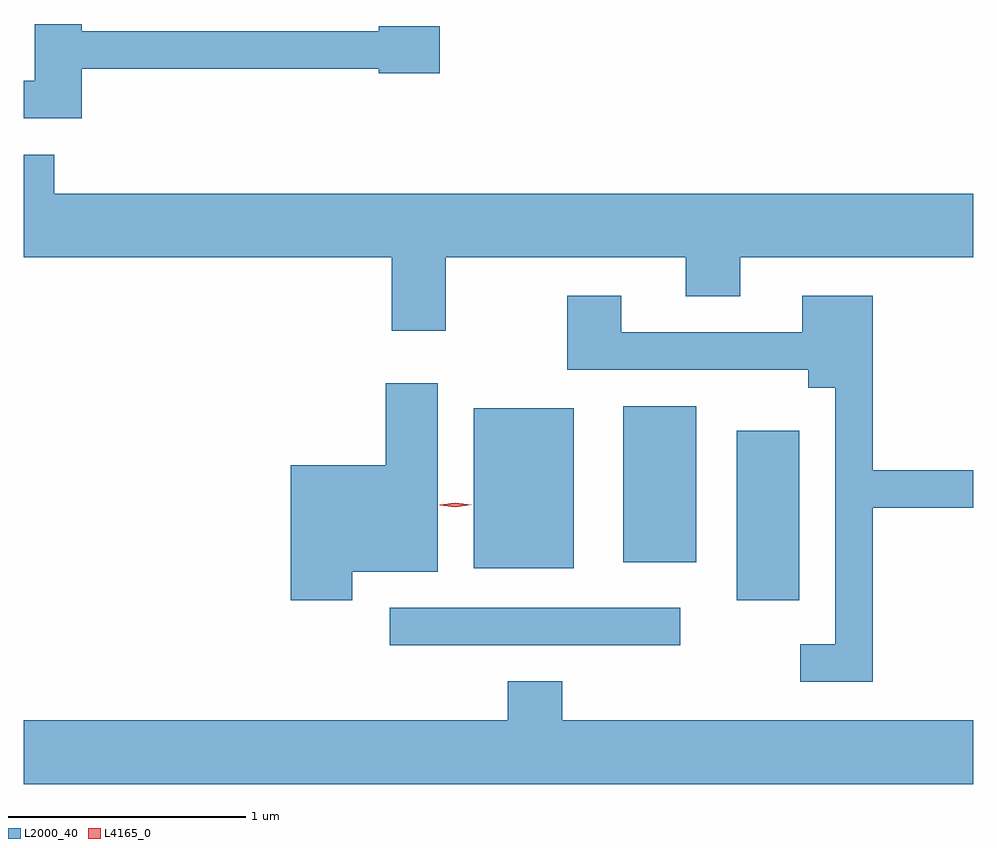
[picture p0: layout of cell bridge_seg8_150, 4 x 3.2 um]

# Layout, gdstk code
import gdstk
lib = gdstk.Library(unit=1e-6, precision=1e-09)
def R(c, l, rs):  # rectangles x0, y0, x1, y1
    for r in rs: c.add(gdstk.rectangle(r[:2], r[2:], *l))
def P(c, l, *ps):  # polygons
    for p in ps: c.add(gdstk.Polygon(p, *l))
L2000_40 = (2000, 40)
L4165_0 = (4165, 0)

bridge_seg8_150 = lib.new_cell('bridge_seg8_150')
R(bridge_seg8_150, L2000_40, [(1689.393,1841.441,1690.618,1841.599), (1690.856,1841.631,1691.119,1842.344), (1689.746,1841.766,1690.169,1842.439), (1690.376,1841.791,1690.684,1842.449)])
P(bridge_seg8_150, L2000_40, [(1688.094,1843.871),(1689.346,1843.871),(1689.346,1843.851),(1689.604,1843.851),(1689.604,1844.049),(1689.346,1844.049),(1689.346,1844.029),(1688.094,1844.029),(1688.094,1844.059),(1687.896,1844.059),(1687.896,1843.819),(1687.851,1843.819),(1687.851,1843.661),(1688.094,1843.661)],
  [(1689.629,1843.076),(1690.641,1843.076),(1690.641,1842.911),(1690.869,1842.911),(1690.869,1843.076),(1691.851,1843.076),(1691.851,1843.344),(1687.979,1843.344),(1687.979,1843.509),(1687.851,1843.509),(1687.851,1843.076),(1689.401,1843.076),(1689.401,1842.766),(1689.629,1842.766)],
  [(1691.429,1842.021),(1691.851,1842.021),(1691.851,1842.179),(1691.429,1842.179),(1691.429,1842.914),(1691.131,1842.914),(1691.131,1842.759),(1690.369,1842.759),(1690.369,1842.914),(1690.141,1842.914),(1690.141,1842.601),(1691.156,1842.601),(1691.156,1842.526),(1691.271,1842.526),(1691.271,1841.444),(1691.123,1841.444),(1691.123,1841.286),(1691.429,1841.286)],
  [(1689.234,1841.751),(1689.594,1841.751),(1689.594,1842.544),(1689.376,1842.544),(1689.376,1842.199),(1688.976,1842.199),(1688.976,1841.631),(1689.234,1841.631)],
  [(1691.851,1841.124),(1690.119,1841.124),(1690.119,1841.289),(1689.891,1841.289),(1689.891,1841.124),(1687.851,1841.124),(1687.851,1840.856),(1691.851,1840.856)])
P(bridge_seg8_150, L4165_0, [(1689.67,1842.022),(1689.603,1842.031),(1689.603,1842.032),(1689.603,1842.032),(1689.669,1842.042),(1689.736,1842.033),(1689.736,1842.033),(1689.736,1842.032)])

lib.write_gds('bridge_seg8_150.gds')
